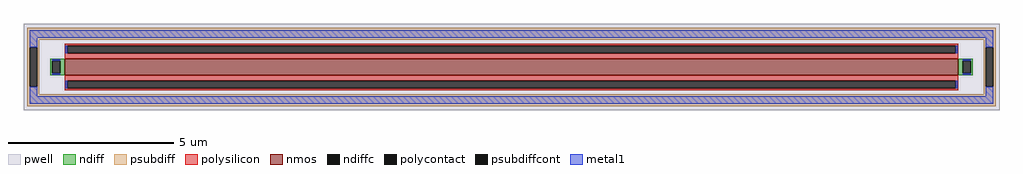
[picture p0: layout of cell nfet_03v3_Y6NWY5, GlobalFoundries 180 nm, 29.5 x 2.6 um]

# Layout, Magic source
magic
tech gf180mcuD
magscale 1 10
<< pwell >>
rect -2950 -260 2950 260
<< nmos >>
rect -2700 -50 2700 50
<< ndiff >>
rect -2788 37 -2700 50
rect -2788 -37 -2775 37
rect -2729 -37 -2700 37
rect -2788 -50 -2700 -37
rect 2700 37 2788 50
rect 2700 -37 2729 37
rect 2775 -37 2788 37
rect 2700 -50 2788 -37
<< ndiffc >>
rect -2775 -37 -2729 37
rect 2729 -37 2775 37
<< psubdiff >>
rect -2926 164 2926 236
rect -2926 120 -2854 164
rect -2926 -120 -2913 120
rect -2867 -120 -2854 120
rect 2854 120 2926 164
rect -2926 -164 -2854 -120
rect 2854 -120 2867 120
rect 2913 -120 2926 120
rect 2854 -164 2926 -120
rect -2926 -236 2926 -164
<< psubdiffcont >>
rect -2913 -120 -2867 120
rect 2867 -120 2913 120
<< polysilicon >>
rect -2700 129 2700 142
rect -2700 83 -2687 129
rect 2687 83 2700 129
rect -2700 50 2700 83
rect -2700 -83 2700 -50
rect -2700 -129 -2687 -83
rect 2687 -129 2700 -83
rect -2700 -142 2700 -129
<< polycontact >>
rect -2687 83 2687 129
rect -2687 -129 2687 -83
<< metal1 >>
rect -2913 177 2913 223
rect -2913 120 -2867 177
rect -2698 83 -2687 129
rect 2687 83 2698 129
rect 2867 120 2913 177
rect -2775 37 -2729 48
rect -2775 -48 -2729 -37
rect 2729 37 2775 48
rect 2729 -48 2775 -37
rect -2913 -177 -2867 -120
rect -2698 -129 -2687 -83
rect 2687 -129 2698 -83
rect 2867 -177 2913 -120
rect -2913 -223 2913 -177
<< properties >>
string FIXED_BBOX -2890 -200 2890 200
string gencell nfet_03v3
string library gf180mcu
string parameters w 0.5 l 27 m 1 nf 1 diffcov 100 polycov 100 guard 1 glc 1 grc 1 gtc 0 gbc 0 tbcov 100 rlcov 100 topc 1 botc 1 poverlap 0 doverlap 1 lmin 0.28 wmin 0.22 class mosfet full_metal 1 compatible {nfet_03v3 nfet_05v0 nfet_06v0 nfet_06v0_nvt}
<< end >>
